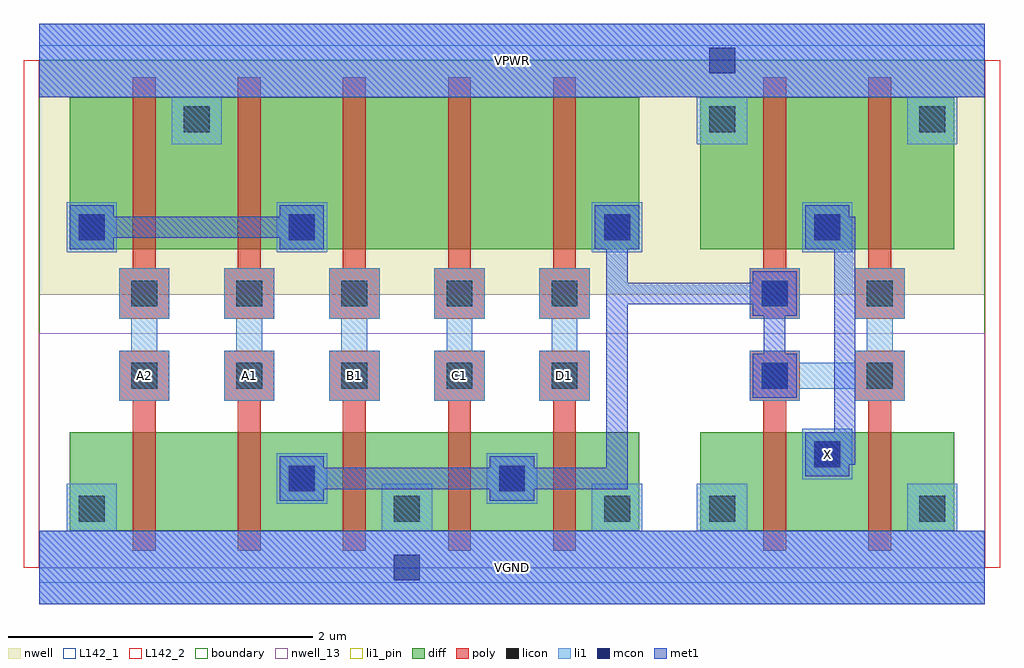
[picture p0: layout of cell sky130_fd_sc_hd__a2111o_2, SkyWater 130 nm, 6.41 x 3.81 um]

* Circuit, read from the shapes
.subckt sky130_fd_sc_hd__a2111o_2 A1 A2 B1 C1 D1 VGND VPWR X
XM1 n1 A2 VGND VSUBS sky130_fd_pr__nfet_01v8 w=0.65 l=0.15
XM2 n2 A1 n1 VSUBS sky130_fd_pr__nfet_01v8 w=0.65 l=0.15
XM3 VGND B1 n2 VSUBS sky130_fd_pr__nfet_01v8 w=0.65 l=0.15
XM4 n2 C1 VGND VSUBS sky130_fd_pr__nfet_01v8 w=0.65 l=0.15
XM5 VGND D1 n2 VSUBS sky130_fd_pr__nfet_01v8 w=0.65 l=0.15
XM6 X n2 VGND VSUBS sky130_fd_pr__nfet_01v8 w=0.65 l=0.15 m=2
XM7 VPWR A2 n3 n4 sky130_fd_pr__pfet_01v8 w=1 l=0.15
XM8 n3 A1 VPWR n4 sky130_fd_pr__pfet_01v8 w=1 l=0.15
XM9 n5 B1 n3 n4 sky130_fd_pr__pfet_01v8 w=1 l=0.15
XM10 n6 C1 n5 n4 sky130_fd_pr__pfet_01v8 w=1 l=0.15
XM11 n2 D1 n6 n4 sky130_fd_pr__pfet_01v8 w=1 l=0.15
XM12 X n2 VPWR n4 sky130_fd_pr__pfet_01v8 w=1 l=0.15 m=2
.ends

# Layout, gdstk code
import gdstk
lib = gdstk.Library(unit=1e-6, precision=1e-09)
def R(c, l, rs):  # rectangles x0, y0, x1, y1
    for r in rs: c.add(gdstk.rectangle(r[:2], r[2:], *l))
def A(c, l, x, y, w, h, nx, ny, dx, dy):  # array of equal rectangles
    R(c, l, [(x+i*dx, y+j*dy, x+i*dx+w, y+j*dy+h) for i in range(nx) for j in range(ny)])
def P(c, l, *ps):  # polygons
    for p in ps: c.add(gdstk.Polygon(p, *l))
nwell_13 = (64, 13)
nwell = (64, 20)
diff = (65, 20)
poly = (66, 20)
licon = (66, 44)
li1_pin = (67, 16)
li1 = (67, 20)
mcon = (67, 44)
met1 = (68, 20)
L142_1 = (142, 1)
L142_2 = (142, 2)
boundary = (235, 4)

sky130_fd_sc_hd__a2111o_ = lib.new_cell('sky130_fd_sc_hd__a2111o_2')
R(sky130_fd_sc_hd__a2111o_, nwell_13, [(0,0,6.21,1.54)])
R(sky130_fd_sc_hd__a2111o_, nwell, [(0,1.79,6.21,3.33)])
A(sky130_fd_sc_hd__a2111o_, diff, 0.615, 0.24, 0.69, 0.65, 4, 1, 0.69, 0)
A(sky130_fd_sc_hd__a2111o_, diff, 0.615, 2.09, 0.69, 1, 4, 1, 0.69, 0)
R(sky130_fd_sc_hd__a2111o_, diff, [(0.2,0.24,3.94,0.89), (0.2,0.24,0.615,0.89), (3.375,0.24,3.94,0.89), (4.34,0.24,6.01,0.89), (4.34,0.24,4.755,0.89), (4.755,0.24,5.445,0.89), (5.445,0.24,6.01,0.89), (0.2,2.09,3.94,3.09), (0.2,2.09,0.615,3.09), (3.375,2.09,3.94,3.09), (4.34,2.09,6.01,3.09), (4.34,2.09,4.755,3.09), (4.755,2.09,5.445,3.09), (5.445,2.09,6.01,3.09)])
P(sky130_fd_sc_hd__a2111o_, poly, [(4.755,0.11),(4.755,1.095),(4.665,1.095),(4.665,1.425),(4.995,1.425),(4.995,1.095),(4.905,1.095),(4.905,0.11)],
  [(5.445,0.11),(5.445,1.095),(5.355,1.095),(5.355,1.425),(5.685,1.425),(5.685,1.095),(5.595,1.095),(5.595,0.11)],
  [(4.665,1.635),(4.665,1.965),(4.755,1.965),(4.755,3.22),(4.905,3.22),(4.905,1.965),(4.995,1.965),(4.995,1.635)],
  [(5.355,1.635),(5.355,1.965),(5.445,1.965),(5.445,3.22),(5.595,3.22),(5.595,1.965),(5.685,1.965),(5.685,1.635)],
  [(0.615,0.11),(0.615,1.095),(0.525,1.095),(0.525,1.425),(0.855,1.425),(0.855,1.095),(0.765,1.095),(0.765,0.11)],
  [(0.525,1.635),(0.525,1.965),(0.615,1.965),(0.615,3.22),(0.765,3.22),(0.765,1.965),(0.855,1.965),(0.855,1.635)],
  [(1.305,0.11),(1.305,1.095),(1.215,1.095),(1.215,1.425),(1.545,1.425),(1.545,1.095),(1.455,1.095),(1.455,0.11)],
  [(1.215,1.635),(1.215,1.965),(1.305,1.965),(1.305,3.22),(1.455,3.22),(1.455,1.965),(1.545,1.965),(1.545,1.635)],
  [(2.685,0.11),(2.685,1.095),(2.595,1.095),(2.595,1.425),(2.925,1.425),(2.925,1.095),(2.835,1.095),(2.835,0.11)],
  [(2.595,1.635),(2.595,1.965),(2.685,1.965),(2.685,3.22),(2.835,3.22),(2.835,1.965),(2.925,1.965),(2.925,1.635)],
  [(1.995,0.11),(1.995,1.095),(1.905,1.095),(1.905,1.425),(2.235,1.425),(2.235,1.095),(2.145,1.095),(2.145,0.11)],
  [(1.905,1.635),(1.905,1.965),(1.995,1.965),(1.995,3.22),(2.145,3.22),(2.145,1.965),(2.235,1.965),(2.235,1.635)],
  [(3.375,0.11),(3.375,1.095),(3.285,1.095),(3.285,1.425),(3.615,1.425),(3.615,1.095),(3.525,1.095),(3.525,0.11)],
  [(3.285,1.635),(3.285,1.965),(3.375,1.965),(3.375,3.22),(3.525,3.22),(3.525,1.965),(3.615,1.965),(3.615,1.635)])
A(sky130_fd_sc_hd__a2111o_, licon, 0.605, 1.175, 0.17, 0.17, 5, 2, 0.69, 0.54)
R(sky130_fd_sc_hd__a2111o_, licon, [(0.26,0.3,0.43,0.47), (2.33,0.3,2.5,0.47), (3.71,0.3,3.88,0.47), (4.4,0.3,4.57,0.47), (5.78,0.3,5.95,0.47), (1.64,0.5,1.81,0.67), (3.02,0.5,3.19,0.67), (5.09,0.66,5.26,0.83), (4.745,1.175,4.915,1.345), (5.435,1.175,5.605,1.345), (4.745,1.715,4.915,1.885), (5.435,1.715,5.605,1.885), (0.26,2.15,0.43,2.32), (1.64,2.15,1.81,2.32), (3.71,2.15,3.88,2.32), (5.09,2.15,5.26,2.32), (0.95,2.86,1.12,3.03), (4.4,2.86,4.57,3.03), (5.78,2.86,5.95,3.03)])
R(sky130_fd_sc_hd__a2111o_, li1_pin, [(0,-0.24,6.21,0.24), (5.01,0.58,5.34,0.91), (0,3.09,6.21,3.57)])
P(sky130_fd_sc_hd__a2111o_, li1_pin, [(2.595,1.095),(2.595,1.425),(2.675,1.425),(2.675,1.635),(2.595,1.635),(2.595,1.965),(2.925,1.965),(2.925,1.635),(2.845,1.635),(2.845,1.425),(2.925,1.425),(2.925,1.095)],
  [(0.525,1.095),(0.525,1.425),(0.605,1.425),(0.605,1.635),(0.525,1.635),(0.525,1.965),(0.855,1.965),(0.855,1.635),(0.775,1.635),(0.775,1.425),(0.855,1.425),(0.855,1.095)],
  [(3.285,1.095),(3.285,1.425),(3.365,1.425),(3.365,1.635),(3.285,1.635),(3.285,1.965),(3.615,1.965),(3.615,1.635),(3.535,1.635),(3.535,1.425),(3.615,1.425),(3.615,1.095)],
  [(1.215,1.095),(1.215,1.425),(1.295,1.425),(1.295,1.635),(1.215,1.635),(1.215,1.965),(1.545,1.965),(1.545,1.635),(1.465,1.635),(1.465,1.425),(1.545,1.425),(1.545,1.095)],
  [(1.905,1.095),(1.905,1.425),(1.985,1.425),(1.985,1.635),(1.905,1.635),(1.905,1.965),(2.235,1.965),(2.235,1.635),(2.155,1.635),(2.155,1.425),(2.235,1.425),(2.235,1.095)])
R(sky130_fd_sc_hd__a2111o_, li1, [(1.56,0.42,1.89,0.75), (2.94,0.42,3.27,0.75), (5.01,0.58,5.34,0.91), (4.665,1.635,4.995,1.965), (0.18,2.07,0.51,2.4), (1.56,2.07,1.89,2.4), (3.63,2.07,3.96,2.4), (5.01,2.07,5.34,2.4)])
P(sky130_fd_sc_hd__a2111o_, li1, [(4.665,1.095),(4.665,1.425),(4.995,1.425),(4.995,1.345),(5.355,1.345),(5.355,1.425),(5.435,1.425),(5.435,1.635),(5.355,1.635),(5.355,1.965),(5.685,1.965),(5.685,1.635),(5.605,1.635),(5.605,1.425),(5.685,1.425),(5.685,1.095),(5.355,1.095),(5.355,1.175),(4.995,1.175),(4.995,1.095)],
  [(0.525,1.095),(0.525,1.425),(0.605,1.425),(0.605,1.635),(0.525,1.635),(0.525,1.965),(0.855,1.965),(0.855,1.635),(0.775,1.635),(0.775,1.425),(0.855,1.425),(0.855,1.095)],
  [(0.87,2.78),(0.87,3.09),(0,3.09),(0,3.57),(6.21,3.57),(6.21,3.09),(6.03,3.09),(6.03,2.78),(5.7,2.78),(5.7,3.09),(4.65,3.09),(4.65,2.78),(4.32,2.78),(4.32,3.09),(1.2,3.09),(1.2,2.78)],
  [(1.215,1.095),(1.215,1.425),(1.295,1.425),(1.295,1.635),(1.215,1.635),(1.215,1.965),(1.545,1.965),(1.545,1.635),(1.465,1.635),(1.465,1.425),(1.545,1.425),(1.545,1.095)],
  [(0,-0.24),(0,0.24),(0.18,0.24),(0.18,0.55),(0.51,0.55),(0.51,0.24),(2.25,0.24),(2.25,0.55),(2.58,0.55),(2.58,0.24),(3.63,0.24),(3.63,0.55),(3.96,0.55),(3.96,0.24),(4.32,0.24),(4.32,0.55),(4.65,0.55),(4.65,0.24),(5.7,0.24),(5.7,0.55),(6.03,0.55),(6.03,0.24),(6.21,0.24),(6.21,-0.24)],
  [(2.595,1.095),(2.595,1.425),(2.675,1.425),(2.675,1.635),(2.595,1.635),(2.595,1.965),(2.925,1.965),(2.925,1.635),(2.845,1.635),(2.845,1.425),(2.925,1.425),(2.925,1.095)],
  [(1.905,1.095),(1.905,1.425),(1.985,1.425),(1.985,1.635),(1.905,1.635),(1.905,1.965),(2.235,1.965),(2.235,1.635),(2.155,1.635),(2.155,1.425),(2.235,1.425),(2.235,1.095)],
  [(3.285,1.095),(3.285,1.425),(3.365,1.425),(3.365,1.635),(3.285,1.635),(3.285,1.965),(3.615,1.965),(3.615,1.635),(3.535,1.635),(3.535,1.425),(3.615,1.425),(3.615,1.095)])
R(sky130_fd_sc_hd__a2111o_, mcon, [(2.33,-0.085,2.5,0.085), (1.64,0.5,1.81,0.67), (3.02,0.5,3.19,0.67), (5.09,0.66,5.26,0.83), (4.745,1.175,4.915,1.345), (4.745,1.715,4.915,1.885), (0.26,2.15,0.43,2.32), (1.64,2.15,1.81,2.32), (3.71,2.15,3.88,2.32), (5.09,2.15,5.26,2.32), (4.4,3.245,4.57,3.415)])
R(sky130_fd_sc_hd__a2111o_, met1, [(0,-0.24,6.21,0.24), (0,3.09,6.21,3.57)])
P(sky130_fd_sc_hd__a2111o_, met1, [(1.58,0.44),(1.58,0.73),(1.87,0.73),(1.87,0.655),(2.96,0.655),(2.96,0.73),(3.25,0.73),(3.25,0.655),(3.725,0.655),(3.725,2.09),(3.65,2.09),(3.65,2.38),(3.94,2.38),(3.94,2.09),(3.865,2.09),(3.865,1.87),(4.685,1.87),(4.685,1.945),(4.975,1.945),(4.975,1.655),(4.9,1.655),(4.9,1.405),(4.975,1.405),(4.975,1.115),(4.685,1.115),(4.685,1.405),(4.76,1.405),(4.76,1.655),(4.685,1.655),(4.685,1.73),(3.865,1.73),(3.865,0.515),(3.25,0.515),(3.25,0.44),(2.96,0.44),(2.96,0.515),(1.87,0.515),(1.87,0.44)],
  [(0.2,2.09),(0.2,2.38),(0.49,2.38),(0.49,2.305),(1.58,2.305),(1.58,2.38),(1.87,2.38),(1.87,2.09),(1.58,2.09),(1.58,2.165),(0.49,2.165),(0.49,2.09)],
  [(5.03,0.6),(5.03,0.89),(5.22,0.89),(5.22,2.09),(5.03,2.09),(5.03,2.38),(5.32,2.38),(5.32,2.305),(5.36,2.305),(5.36,0.675),(5.32,0.675),(5.32,0.6)])
R(sky130_fd_sc_hd__a2111o_, L142_1, [(0,-0.1,6.21,0), (0,3.33,6.21,3.43)])
R(sky130_fd_sc_hd__a2111o_, L142_2, [(-0.1,0,0,3.33), (6.21,0,6.31,3.33)])
R(sky130_fd_sc_hd__a2111o_, boundary, [(0,0,6.21,3.33)])
sky130_fd_sc_hd__a2111o_.add(gdstk.Label('X', (5.175,0.745), layer=67, texttype=5))
sky130_fd_sc_hd__a2111o_.add(gdstk.Label('C1', (2.76,1.26), layer=67, texttype=5))
sky130_fd_sc_hd__a2111o_.add(gdstk.Label('A2', (0.69,1.26), layer=67, texttype=5))
sky130_fd_sc_hd__a2111o_.add(gdstk.Label('D1', (3.45,1.26), layer=67, texttype=5))
sky130_fd_sc_hd__a2111o_.add(gdstk.Label('A1', (1.38,1.26), layer=67, texttype=5))
sky130_fd_sc_hd__a2111o_.add(gdstk.Label('B1', (2.07,1.26), layer=67, texttype=5))
sky130_fd_sc_hd__a2111o_.add(gdstk.Label('VGND', (3.105,0), layer=67, texttype=5))
sky130_fd_sc_hd__a2111o_.add(gdstk.Label('VPWR', (3.105,3.33), layer=67, texttype=5))
sky130_fd_sc_hd__a2111o_.add(gdstk.Label('VGND', (3.105,0), layer=68, texttype=5))
sky130_fd_sc_hd__a2111o_.add(gdstk.Label('VPWR', (3.105,3.33), layer=68, texttype=5))

lib.write_gds('sky130_fd_sc_hd__a2111o_2.gds')
